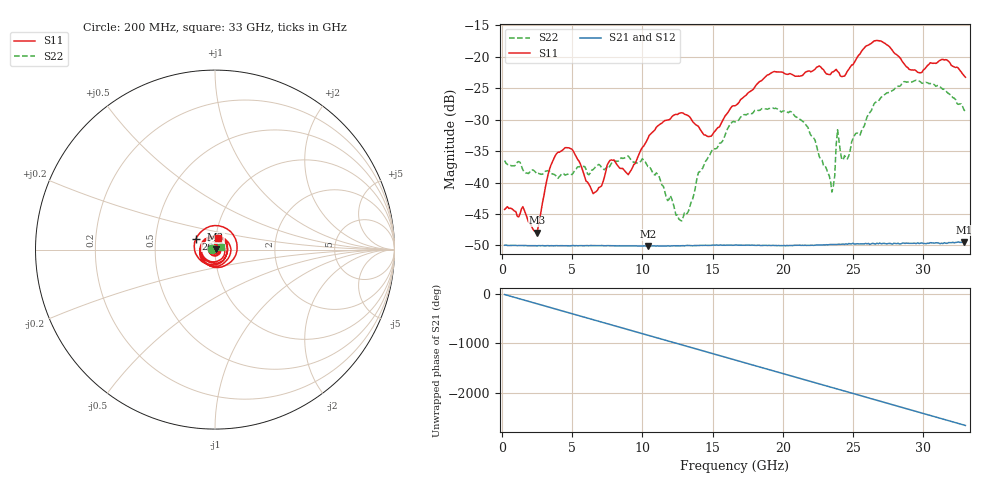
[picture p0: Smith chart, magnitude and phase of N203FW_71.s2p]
# GHZ S RI R 50
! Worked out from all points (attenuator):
!   329 points, 200 MHz to 33 GHz, reference 50 ohm
!   highest |S21| = -49.43 dB at 32.9 GHz (marker M1); lowest = -50.1 dB at 10.4 GHz (marker M2)
!   lowest |S11| = -48.0 dB at 2.5 GHz (marker M3), VSWR 1.01, Z = 50.3 + j0.219 ohm
!   |S11| at or under -10 dB: start of sweep to end of sweep
!   |S22| runs from -46.1 to -23.8 dB; largest |S21 - S12| = 8.8e-05
!   S11 on the Smith chart (normalised r, x): 200 MHz: 1.01, +0.00; 26 GHz: 0.80, +0.10; 33 GHz: 1.02, +0.14
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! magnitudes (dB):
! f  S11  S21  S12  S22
! 200 MHz  -44.3  -50.0  -49.9  -36.5
! 2.5 GHz  -48.0  -50.1  -50.0  -38.6
! 3.9 GHz  -35.4  -50.0  -50.0  -39.0
! 5.7 GHz  -37.7  -50.0  -50.0  -37.4
! 6.5 GHz  -41.8  -50.0  -50.0  -38.0
! 9 GHz  -38.8  -50.1  -50.1  -35.8
! 10.4 GHz  -33.0  -50.1  -50.1  -37.4
! 11.2 GHz  -30.8  -50.1  -50.1  -39.1
! 12.8 GHz  -28.9  -50.0  -50.0  -46.1
! 14.7 GHz  -32.7  -50.0  -50.0  -35.9
! 16.6 GHz  -27.8  -49.9  -49.9  -30.4
! 19.5 GHz  -22.4  -50.0  -50.0  -28.2
! 22.1 GHz  -22.3  -50.0  -49.9  -32.6
! 23.5 GHz  -22.5  -49.9  -49.8  -41.5
! 23.9 GHz  -22.4  -49.8  -49.8  -31.6
! 24.2 GHz  -23.2  -49.8  -49.8  -36.3
! 24.6 GHz  -22.3  -49.8  -49.7  -36.2
! 26 GHz  -18.2  -49.7  -49.7  -29.6
! 27.6 GHz  -18.4  -49.7  -49.7  -25.7
! 30.7 GHz  -21.1  -49.6  -49.7  -24.3
! 32.9 GHz  -23.0  -49.4  -49.4  -28.5
! 33 GHz  -23.3  -49.5  -49.5  -28.7
